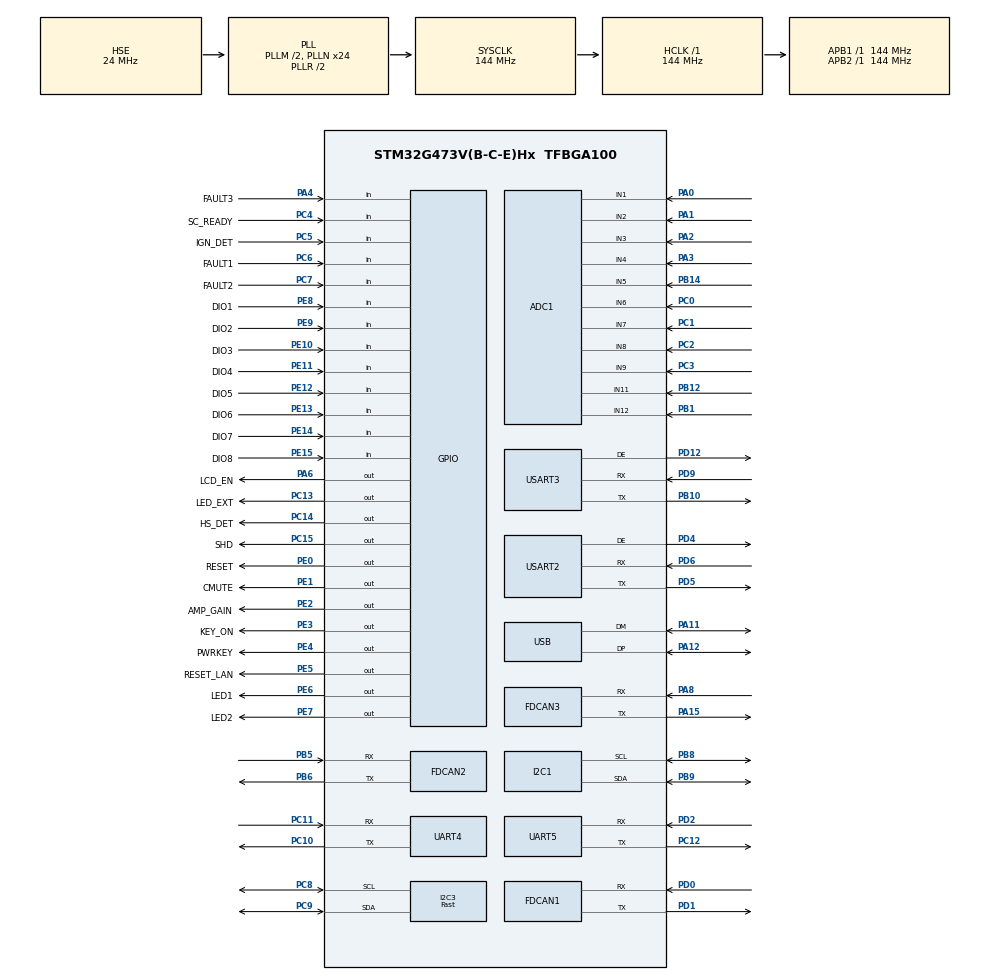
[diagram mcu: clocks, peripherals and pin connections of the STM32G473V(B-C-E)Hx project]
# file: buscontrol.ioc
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ADC1.Channel-0\#ChannelRegularConversion=ADC_CHANNEL_TEMPSENSOR_ADC1
ADC1.Channel-7\#ChannelRegularConversion=ADC_CHANNEL_VBAT
ADC1.Channel-8\#ChannelRegularConversion=ADC_CHANNEL_9
ADC1.Channel-9\#ChannelRegularConversion=ADC_CHANNEL_11
ADC1.ClockPrescaler=ADC_CLOCK_SYNC_PCLK_DIV4
ADC1.ContinuousConvMode=DISABLE
ADC1.DMAContinuousRequests=ENABLE
ADC1.EOCSelection=ADC_EOC_SINGLE_CONV
ADC1.EnableAnalogWatchDog1=false
ADC1.EnableInjectedConversion=DISABLE
ADC1.ExternalTrigConv=ADC_EXTERNALTRIG_T2_TRGO
ADC1.NbrOfConversion=4
ADC1.NbrOfConversionFlag=1
ADC1.OffsetNumber-0\#ChannelRegularConversion=ADC_OFFSET_NONE
ADC1.OffsetNumber-7\#ChannelRegularConversion=ADC_OFFSET_NONE
ADC1.OffsetNumber-8\#ChannelRegularConversion=ADC_OFFSET_NONE
ADC1.OffsetNumber-9\#ChannelRegularConversion=ADC_OFFSET_NONE
ADC1.Overrun=ADC_OVR_DATA_OVERWRITTEN
ADC1.OversamplingMode=DISABLE
ADC1.Rank-0\#ChannelRegularConversion=1
ADC1.Rank-7\#ChannelRegularConversion=2
ADC1.Rank-8\#ChannelRegularConversion=3
ADC1.Rank-9\#ChannelRegularConversion=4
ADC1.SamplingTime-0\#ChannelRegularConversion=ADC_SAMPLETIME_247CYCLES_5
ADC1.SamplingTime-7\#ChannelRegularConversion=ADC_SAMPLETIME_247CYCLES_5
ADC1.SamplingTime-8\#ChannelRegularConversion=ADC_SAMPLETIME_247CYCLES_5
ADC1.SamplingTime-9\#ChannelRegularConversion=ADC_SAMPLETIME_247CYCLES_5
ADC1.master=1
Dma.ADC1.0.Direction=DMA_PERIPH_TO_MEMORY
Dma.ADC1.0.EventEnable=DISABLE
Dma.ADC1.0.Instance=DMA1_Channel1
Dma.ADC1.0.MemDataAlignment=DMA_MDATAALIGN_HALFWORD
Dma.ADC1.0.MemInc=DMA_MINC_ENABLE
Dma.ADC1.0.Mode=DMA_CIRCULAR
Dma.ADC1.0.PeriphDataAlignment=DMA_PDATAALIGN_HALFWORD
Dma.ADC1.0.PeriphInc=DMA_PINC_DISABLE
Dma.ADC1.0.Polarity=HAL_DMAMUX_REQ_GEN_RISING
Dma.ADC1.0.Priority=DMA_PRIORITY_HIGH
Dma.ADC1.0.RequestNumber=1
Dma.ADC1.0.SignalID=NONE
Dma.ADC1.0.SyncEnable=DISABLE
Dma.ADC1.0.SyncPolarity=HAL_DMAMUX_SYNC_NO_EVENT
Dma.ADC1.0.SyncRequestNumber=1
Dma.ADC1.0.SyncSignalID=NONE
Dma.Request0=ADC1
FDCAN1.AutoRetransmission=ENABLE
FDCAN1.DataPrescaler=24
FDCAN1.DataSyncJumpWidth=2
FDCAN1.DataTimeSeg1=12
FDCAN1.DataTimeSeg2=11
FDCAN1.FrameFormat=FDCAN_FRAME_CLASSIC
FDCAN1.NominalPrescaler=24
FDCAN1.NominalSyncJumpWidth=2
FDCAN1.NominalTimeSeg1=12
FDCAN1.NominalTimeSeg2=11
FDCAN1.TransmitPause=ENABLE
FREERTOS.INCLUDE_uxTaskGetStackHighWaterMark2=1
FREERTOS.INCLUDE_xTaskGetHandle=1
FREERTOS.Tasks01=defaultTask,24,4096,StartDefaultTask,Default,NULL,Dynamic,NULL,NULL
FREERTOS.configTOTAL_HEAP_SIZE=65536
FREERTOS.configUSE_NEWLIB_REENTRANT=1
I2C1.Timing=0x20B0D9FF
I2C3.I2C_Speed_Mode=I2C_Fast
I2C3.Timing=0x00E057FD
Mcu.Family=STM32G4
Mcu.Name=STM32G473V(B-C-E)Hx
Mcu.Package=TFBGA100
NVIC.DMA1_Channel1_IRQn=true\:5\:0\:false\:false\:true\:true\:false\:true
NVIC.FDCAN1_IT0_IRQn=true\:5\:0\:false\:false\:true\:true\:true\:true
NVIC.PriorityGroup=NVIC_PRIORITYGROUP_4
NVIC.TIM4_IRQn=true\:15\:0\:false\:false\:true\:false\:false\:true
NVIC.TimeBase=TIM4_IRQn
NVIC.TimeBaseIP=TIM4
NVIC.USB_LP_IRQn=true\:5\:0\:false\:false\:true\:true\:false\:true
PA0.Mode=IN1-Single-Ended
PA0.Signal=ADC1_IN1
PA1.Mode=IN2-Single-Ended
PA1.Signal=ADC1_IN2
PA11.Mode=Device
PA11.Signal=USB_DM
PA12.Mode=Device
PA12.Signal=USB_DP
PA13.Mode=Trace_Asynchronous_SW
PA13.Signal=SYS_JTMS-SWDIO
PA14.Mode=Trace_Asynchronous_SW
PA14.Signal=SYS_JTCK-SWCLK
PA15.Mode=FDCAN_Activate
PA15.Signal=FDCAN3_TX
PA2.Mode=IN3-Single-Ended
PA2.Signal=ADC1_IN3
PA3.Mode=IN4-Single-Ended
PA3.Signal=ADC1_IN4
PA4.GPIO_Label=FAULT3
PA4.GPIO_PuPd=GPIO_PULLUP
PA4.Signal=GPIO_Input
PA5.GPIO_Label=LCD_INT
PA5.GPIO_PuPd=GPIO_PULLUP
PA5.Signal=EVENTOUT
PA6.GPIO_Label=LCD_EN
PA6.GPIO_PuPd=GPIO_PULLUP
PA6.PinState=GPIO_PIN_SET
PA6.Signal=GPIO_Output
PA8.Mode=FDCAN_Activate
PA8.Signal=FDCAN3_RX
PB1.Mode=IN12-Single-Ended
PB1.Signal=ADC1_IN12
PB10.Mode=Asynchronous
PB10.Signal=USART3_TX
PB12.Mode=IN11-Single-Ended
PB12.Signal=ADC1_IN11
PB14.Mode=IN5-Single-Ended
PB14.Signal=ADC1_IN5
PB3.Mode=Trace_Asynchronous_SW
PB3.Signal=SYS_JTDO-SWO
PB5.Mode=FDCAN_Activate
PB5.Signal=FDCAN2_RX
PB6.Mode=FDCAN_Activate
PB6.Signal=FDCAN2_TX
PB8-BOOT0.GPIO_Pu=GPIO_PULLUP
PB8-BOOT0.Mode=I2C
PB8-BOOT0.Signal=I2C1_SCL
PB9.GPIO_Pu=GPIO_PULLUP
PB9.Mode=I2C
PB9.Signal=I2C1_SDA
PC0.Mode=IN6-Single-Ended
PC0.Signal=ADC1_IN6
PC1.Mode=IN7-Single-Ended
PC1.Signal=ADC1_IN7
PC10.Mode=Asynchronous
PC10.Signal=UART4_TX
PC11.Mode=Asynchronous
PC11.Signal=UART4_RX
PC12.Mode=Asynchronous
PC12.Signal=UART5_TX
PC13.GPIO_Label=LED_EXT
PC13.GPIO_PuPd=GPIO_PULLUP
PC13.Signal=GPIO_Output
PC14-OSC32_IN.GPIO_Label=HS_DET
PC14-OSC32_IN.GPIO_PuPd=GPIO_PULLUP
PC14-OSC32_IN.PinState=GPIO_PIN_SET
PC14-OSC32_IN.Signal=GPIO_Output
PC15-OSC32_OUT.GPIO_Label=SHD
PC15-OSC32_OUT.GPIO_PuPd=GPIO_PULLUP
PC15-OSC32_OUT.PinState=GPIO_PIN_SET
PC15-OSC32_OUT.Signal=GPIO_Output
PC2.Mode=IN8-Single-Ended
PC2.Signal=ADC1_IN8
PC3.Mode=IN9-Single-Ended
PC3.Signal=ADC1_IN9
PC4.GPIO_Label=SC_READY
PC4.GPIO_PuPd=GPIO_PULLUP
PC4.Signal=GPIO_Input
PC5.GPIO_Label=IGN_DET
PC5.GPIO_PuPd=GPIO_NOPULL
PC5.Signal=GPIO_Input
PC6.GPIO_Label=FAULT1
PC6.GPIO_PuPd=GPIO_PULLUP
PC6.Signal=GPIO_Input
PC7.GPIO_Label=FAULT2
PC7.GPIO_PuPd=GPIO_PULLUP
PC7.Signal=GPIO_Input
PC8.Mode=I2C
PC8.Signal=I2C3_SCL
PC9.Mode=I2C
PC9.Signal=I2C3_SDA
PD0.Mode=FDCAN_Activate
PD0.Signal=FDCAN1_RX
PD1.Mode=FDCAN_Activate
PD1.Signal=FDCAN1_TX
PD12.Mode=Hardware Flow Control (RS485)
PD12.Signal=USART3_DE
PD2.Mode=Asynchronous
PD2.Signal=UART5_RX
PD4.Mode=Hardware Flow Control (RS485)
PD4.Signal=USART2_DE
PD5.Mode=Asynchronous
PD5.Signal=USART2_TX
PD6.Mode=Asynchronous
PD6.Signal=USART2_RX
PD9.Mode=Asynchronous
PD9.Signal=USART3_RX
PE0.GPIO_Label=RESET
PE0.Signal=GPIO_Output
PE1.GPIO_Label=CMUTE
PE1.Signal=GPIO_Output
PE10.GPIO_Label=DIO3
PE10.GPIO_PuPd=GPIO_PULLUP
PE10.Signal=GPIO_Input
PE11.GPIO_Label=DIO4
PE11.GPIO_PuPd=GPIO_PULLUP
PE11.Signal=GPIO_Input
PE12.GPIO_Label=DIO5
PE12.GPIO_PuPd=GPIO_PULLUP
PE12.Signal=GPIO_Input
PE13.GPIO_Label=DIO6
PE13.GPIO_PuPd=GPIO_PULLUP
PE13.Signal=GPIO_Input
PE14.GPIO_Label=DIO7
PE14.GPIO_PuPd=GPIO_PULLUP
PE14.Signal=GPIO_Input
PE15.GPIO_Label=DIO8
PE15.GPIO_PuPd=GPIO_PULLUP
PE15.Signal=GPIO_Input
PE2.GPIO_Label=AMP_GAIN
PE2.Signal=GPIO_Output
PE3.GPIO_Label=KEY_ON
PE3.PinState=GPIO_PIN_RESET
PE3.Signal=GPIO_Output
PE4.GPIO_Label=PWRKEY
PE4.PinState=GPIO_PIN_RESET
PE4.Signal=GPIO_Output
PE5.GPIO_Label=RESET_LAN
PE5.PinState=GPIO_PIN_RESET
PE5.Signal=GPIO_Output
PE6.GPIO_Label=LED1
PE6.PinState=GPIO_PIN_RESET
PE6.Signal=GPIO_Output
PE7.GPIO_Label=LED2
PE7.PinState=GPIO_PIN_RESET
PE7.Signal=GPIO_Output
PE8.GPIO_Label=DIO1
PE8.GPIO_PuPd=GPIO_PULLUP
PE8.Signal=GPIO_Input
PE9.GPIO_Label=DIO2
PE9.GPIO_PuPd=GPIO_PULLUP
PE9.Signal=GPIO_Input
PF0-OSC_IN.Mode=HSE-External-Oscillator
PF0-OSC_IN.Signal=RCC_OSC_IN
PF1-OSC_OUT.Mode=HSE-External-Oscillator
PF1-OSC_OUT.Signal=RCC_OSC_OUT
ProjectManager.HeapSize=0x200
ProjectManager.StackSize=0x400
ProjectManager.TargetToolchain=STM32CubeIDE
RCC.ADC12Freq_Value=144000000
RCC.ADC345Freq_Value=144000000
RCC.AHBFreq_Value=144000000
RCC.APB1Freq_Value=144000000
RCC.APB1TimFreq_Value=144000000
RCC.APB2Freq_Value=144000000
RCC.APB2TimFreq_Value=144000000
RCC.CortexFreq_Value=144000000
RCC.DATA_CACHE_ENABLE=1
RCC.EXTERNAL_CLOCK_VALUE=12288000
RCC.HCLKFreq_Value=144000000
RCC.HSE_VALUE=24000000
RCC.HSI48_VALUE=48000000
RCC.HSI_VALUE=16000000
RCC.INSTRUCTION_CACHE_ENABLE=1
RCC.LSE_VALUE=32768
RCC.PLLM=RCC_PLLM_DIV2
RCC.PLLN=24
RCC.PLLQ=RCC_PLLQ_DIV6
RCC.PLLSourceVirtual=RCC_PLLSOURCE_HSE
RCC.PREFETCH_ENABLE=0
RCC.SYSCLKFreq_VALUE=144000000
RCC.SYSCLKSource=RCC_SYSCLKSOURCE_PLLCLK
RCC.USBFreq_Value=48000000
RCC.VCOOutputFreq_Value=288000000
SYS.TrimmingMode=__NULL
SYS.VoltageScaling=SYSCFG_VREFBUF_VOLTAGE_SCALE2
TIM2.PeriodNoDither=10000
TIM2.Prescaler=143
TIM2.TIM_MasterOutputTrigger=TIM_TRGO_UPDATE
USART2.VirtualMode-Asynchronous=VM_ASYNC
USART2.VirtualMode-Hardware\ Flow\ Control\ (RS485)=VM_ASYNC
USART3.VirtualMode-Asynchronous=VM_ASYNC
USART3.VirtualMode-Hardware\ Flow\ Control\ (RS485)=VM_ASYNC
USB.Sof_enable=DISABLE
USB_DEVICE.CLASS_NAME_FS=CDC
USB_DEVICE.USBD_DEBUG_LEVEL=0
USB_DEVICE.USBD_LPM_ENABLED=1
USB_DEVICE.VirtualMode=Cdc
USB_DEVICE.VirtualModeFS=Cdc_FS
VP_ADC1_TempSens_Input.Mode=IN-TempSens
VP_ADC1_Vbat_Input.Mode=IN-Vbat
VP_FREERTOS_VS_CMSIS_V2.Mode=CMSIS_V2
VP_RNG_VS_RNG.Mode=RNG_Activate
VP_SYS_VS_DBSignals.Mode=DisableDeadBatterySignals
VP_SYS_VS_tim4.Mode=TIM4
VP_TIM2_VS_ClockSourceINT.Mode=Internal
VP_USB_DEVICE_VS_USB_DEVICE_CDC_FS.Mode=CDC_FS
VREF+.Mode=InternalMode
VREF+.Signal=VREFBUF_OUT
board=custom

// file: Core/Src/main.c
/* USER CODE BEGIN Header */
/**
  ******************************************************************************
  * @file           : main.c
  * @brief          : Main program body
  ******************************************************************************
  * @attention
  *
  * <h2><center>&copy; Copyright (c) 2021 STMicroelectronics.
  * All rights reserved.</center></h2>
  *
  * This software component is licensed by ST under BSD 3-Clause license,
  * the "License"; You may not use this file except in compliance with the
  * License. You may obtain a copy of the License at:
  *                        opensource.org/licenses/BSD-3-Clause
  *
  ******************************************************************************
  */
/* USER CODE END Header */
#include "main.h"
#include "cmsis_os.h"
#include "adc.h"
#include "fdcan.h"
#include "i2c.h"
#include "rng.h"
#include "tim.h"
#include "usart.h"
#include "usb_device.h"
#include "gpio.h"

void SystemClock_Config(void);
void MX_FREERTOS_Init(void);

int main(void)
{

  /* MCU Configuration--------------------------------------------------------*/

  /* Reset of all peripherals, Initializes the Flash interface and the Systick. */
  HAL_Init();

  /* Configure the system clock */
  SystemClock_Config();

  /* USER CODE BEGIN SysInit */
  MX_DMA_Init();
  /* USER CODE END SysInit */

  /* Initialize all configured peripherals */
  MX_GPIO_Init();
  MX_ADC1_Init();
  MX_FDCAN1_Init();
  MX_FDCAN2_Init();
  MX_FDCAN3_Init();
  MX_I2C1_Init();
  MX_UART4_Init();
  MX_UART5_Init();
  MX_USART2_UART_Init();
  MX_USART3_UART_Init();
  MX_I2C3_Init();
  MX_USB_Device_Init();
  MX_RNG_Init();
  MX_TIM2_Init();

  /* Init scheduler */
  osKernelInitialize();  /* Call init function for freertos objects (in freertos.c) */
  MX_FREERTOS_Init();
  /* Start scheduler */
  osKernelStart();

  /* We should never get here as control is now taken by the scheduler */
  /* Infinite loop */
  while (1)
  {

  }
}

void SystemClock_Config(void)
{
  RCC_OscInitTypeDef RCC_OscInitStruct = {0};
  RCC_ClkInitTypeDef RCC_ClkInitStruct = {0};

  /** Configure the main internal regulator output voltage
  */
  HAL_PWREx_ControlVoltageScaling(PWR_REGULATOR_VOLTAGE_SCALE1);
  /** Initializes the RCC Oscillators according to the specified parameters
  * in the RCC_OscInitTypeDef structure.
  */
  RCC_OscInitStruct.OscillatorType = RCC_OSCILLATORTYPE_HSE;
  RCC_OscInitStruct.HSEState = RCC_HSE_ON;
  RCC_OscInitStruct.PLL.PLLState = RCC_PLL_ON;
  RCC_OscInitStruct.PLL.PLLSource = RCC_PLLSOURCE_HSE;
  RCC_OscInitStruct.PLL.PLLM = RCC_PLLM_DIV2;
  RCC_OscInitStruct.PLL.PLLN = 24;
  RCC_OscInitStruct.PLL.PLLP = RCC_PLLP_DIV2;
  RCC_OscInitStruct.PLL.PLLQ = RCC_PLLQ_DIV6;
  RCC_OscInitStruct.PLL.PLLR = RCC_PLLR_DIV2;
  if (HAL_RCC_OscConfig(&RCC_OscInitStruct) != HAL_OK)
  {
    Error_Handler();
  }
  /** Initializes the CPU, AHB and APB buses clocks
  */
  RCC_ClkInitStruct.ClockType = RCC_CLOCKTYPE_HCLK|RCC_CLOCKTYPE_SYSCLK
                              |RCC_CLOCKTYPE_PCLK1|RCC_CLOCKTYPE_PCLK2;
  RCC_ClkInitStruct.SYSCLKSource = RCC_SYSCLKSOURCE_PLLCLK;
  RCC_ClkInitStruct.AHBCLKDivider = RCC_SYSCLK_DIV1;
  RCC_ClkInitStruct.APB1CLKDivider = RCC_HCLK_DIV1;
  RCC_ClkInitStruct.APB2CLKDivider = RCC_HCLK_DIV1;

  if (HAL_RCC_ClockConfig(&RCC_ClkInitStruct, FLASH_LATENCY_4) != HAL_OK)
  {
    Error_Handler();
  }
}

/* USER CODE BEGIN 4 */
#ifdef DEBUG
int _write(int file, char *ptr, int len) {
  /* Implement your write code here, this is used by puts and printf for example */
  for (int i = 0; i < len; i++)
    ITM_SendChar((*ptr++));
  return len;
}
#endif

/* USER CODE END 4 */

void HAL_TIM_PeriodElapsedCallback(TIM_HandleTypeDef *htim)
{
  if (htim->Instance == TIM4) {
    HAL_IncTick();
  }
}

void Error_Handler(void)
{
  __disable_irq();
  while (1)
  {
  }
}

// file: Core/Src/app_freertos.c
/* USER CODE BEGIN Header */
/**
  ******************************************************************************
  * File Name          : app_freertos.c
  * Description        : Code for freertos applications
  ******************************************************************************
  * @attention
  *
  * <h2><center>&copy; Copyright (c) 2021 STMicroelectronics.
  * All rights reserved.</center></h2>
  *
  * This software component is licensed by ST under Ultimate Liberty license
  * SLA0044, the "License"; You may not use this file except in compliance with
  * the License. You may obtain a copy of the License at:
  *                             www.st.com/SLA0044
  *
  ******************************************************************************
  */
/* USER CODE END Header */

#include "FreeRTOS.h"
#include "task.h"
#include "main.h"
#include "cmsis_os.h"

/* USER CODE BEGIN Includes */
#include "settings.h"
extern void initTasks();
extern void startTests();
/* USER CODE END Includes */

/* Definitions for defaultTask */
osThreadId_t defaultTaskHandle;
const osThreadAttr_t defaultTask_attributes = {
  .name = "defaultTask",
  .priority = (osPriority_t) osPriorityNormal,
  .stack_size = 4096 * 4
};

void StartDefaultTask(void *argument);

void MX_FREERTOS_Init(void); /* (MISRA C 2004 rule 8.1) */

void MX_FREERTOS_Init(void) {
  /* USER CODE BEGIN Init */
#ifdef UNIT_TESTS
  /* USER CODE END Init */

  /* Create the thread(s) */
  /* creation of defaultTask */
  defaultTaskHandle = osThreadNew(StartDefaultTask, NULL, &defaultTask_attributes);

  /* USER CODE BEGIN RTOS_THREADS */
#else
	initTasks();
#endif
  /* USER CODE END RTOS_THREADS */

}

void StartDefaultTask(void *argument)
{
  /* USER CODE BEGIN StartDefaultTask */
	startTests();
	vTaskDelete(NULL);
  /* USER CODE END StartDefaultTask */
}
